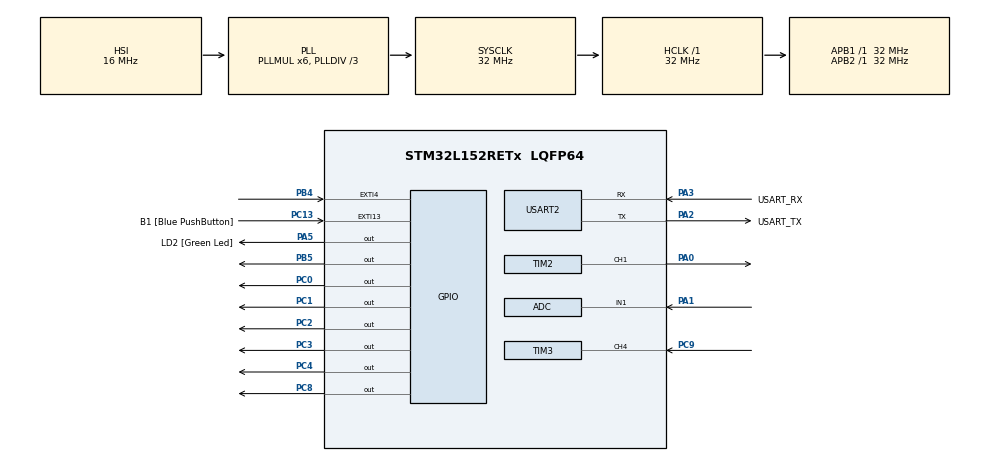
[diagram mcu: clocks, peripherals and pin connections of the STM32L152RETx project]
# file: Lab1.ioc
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ADC.Channel-0\#ChannelRegularConversion=ADC_CHANNEL_1
ADC.NbrOfConversionFlag=1
ADC.Rank-0\#ChannelRegularConversion=1
ADC.SamplingTime-0\#ChannelRegularConversion=ADC_SAMPLETIME_4CYCLES
Mcu.Family=STM32L1
Mcu.Name=STM32L152RETx
Mcu.Package=LQFP64
NVIC.PriorityGroup=NVIC_PRIORITYGROUP_0
PA0-WKUP1.Signal=S_TIM2_CH1_ETR
PA1.Mode=IN1
PA1.Signal=ADC_IN1
PA13.GPIO_Label=TMS
PA13.Mode=Serial_Wire
PA13.Signal=SYS_JTMS-SWDIO
PA14.GPIO_Label=TCK
PA14.Mode=Serial_Wire
PA14.Signal=SYS_JTCK-SWCLK
PA2.GPIO_Label=USART_TX
PA2.Mode=Asynchronous
PA2.Signal=USART2_TX
PA3.GPIO_Label=USART_RX
PA3.Mode=Asynchronous
PA3.Signal=USART2_RX
PA5.GPIO_Label=LD2 [Green Led]
PA5.Signal=GPIO_Output
PB3.GPIO_Label=SWO
PB3.Signal=SYS_JTDO-TRACESWO
PB4.Signal=GPXTI4
PB5.Signal=GPIO_Output
PC0.Signal=GPIO_Output
PC1.Signal=GPIO_Output
PC13-WKUP2.GPIO_Label=B1 [Blue PushButton]
PC13-WKUP2.Signal=GPXTI13
PC14-OSC32_IN.Mode=LSE-External-Oscillator
PC14-OSC32_IN.Signal=RCC_OSC32_IN
PC15-OSC32_OUT.Mode=LSE-External-Oscillator
PC15-OSC32_OUT.Signal=RCC_OSC32_OUT
PC2.Signal=GPIO_Output
PC3.Signal=GPIO_Output
PC4.Signal=GPIO_Output
PC8.Signal=GPIO_Output
PC9.Signal=S_TIM3_CH4
PH0-OSC_IN.Mode=HSE-External-Clock-Source
PH0-OSC_IN.Signal=RCC_OSC_IN
PH1-OSC_OUT.Signal=RCC_OSC_OUT
ProjectManager.HeapSize=0x200
ProjectManager.StackSize=0x400
ProjectManager.TargetToolchain=STM32CubeIDE
RCC.48MHZClocksFreq_Value=48000000
RCC.AHBFreq_Value=32000000
RCC.APB1Freq_Value=32000000
RCC.APB1TimFreq_Value=32000000
RCC.APB2Freq_Value=32000000
RCC.APB2TimFreq_Value=32000000
RCC.HCLKFreq_Value=32000000
RCC.HSE_VALUE=8000000
RCC.HSI_VALUE=16000000
RCC.MSI_VALUE=2097000
RCC.PLLDIV=RCC_PLL_DIV3
RCC.PLLMUL=RCC_PLL_MUL6
RCC.RTCClockSelectionVirtual=RCC_RTCCLKSOURCE_LSE
RCC.SYSCLKFreq_VALUE=32000000
RCC.SYSCLKSource=RCC_SYSCLKSOURCE_PLLCLK
RCC.USBOutput=48000000
RCC.VCOOutputFreq_Value=96000000
SH.S_TIM2_CH1_ETR.0=TIM2_CH1,PWM Generation1 CH1
SH.S_TIM3_CH4.0=TIM3_CH4,Input_Capture4_from_TI4
TIM2.Channel-PWM\ Generation1\ CH1=TIM_CHANNEL_1
TIM3.Channel-Input_Capture4_from_TI4=TIM_CHANNEL_4
USART2.VirtualMode=VM_ASYNC
VP_TIM4_VS_ClockSourceINT.Mode=Internal
board=NUCLEO-L152RE

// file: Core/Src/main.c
/* USER CODE BEGIN Header */
/**
  ******************************************************************************
  * @file           : main.c
  * @brief          : Main program body
  ******************************************************************************
  * @attention
  *
  * Copyright (c) 2026 STMicroelectronics.
  * All rights reserved.
  *
  * This software is licensed under terms that can be found in the LICENSE file
  * in the root directory of this software component.
  * If no LICENSE file comes with this software, it is provided AS-IS.
  *
  ******************************************************************************
  */
/* USER CODE END Header */
#include "main.h"

/* USER CODE BEGIN Includes */
extern UART_HandleTypeDef huart2;
#include <stdio.h>
int _write(int file, char *ptr, int len) {
	int i=0;
	for(i=0; i<len; i++)
	HAL_UART_Transmit(&huart2,(uint8_t *)(ptr++),1,1000);
	return len;
}
void waiting(unsigned int delay) {
	unsigned int i;
	for (i=0; i<delay; i++);
}
/* USER CODE END Includes */

ADC_HandleTypeDef hadc;

TIM_HandleTypeDef htim2;
TIM_HandleTypeDef htim3;
TIM_HandleTypeDef htim4;

UART_HandleTypeDef huart2;

/* USER CODE BEGIN PV */
unsigned char state = 0;
unsigned char medicion_init = 0;
unsigned char medicion_end = 1;
uint32_t value_adc = 0;
int angle = 0;

unsigned char estado_echo = 0;
unsigned char trig =0;
unsigned short tiempo_inicio = 0;
unsigned short tiempo = 0;
unsigned short distancia = 0;
unsigned char new_distance = 0;

unsigned char auto_step = 0; //counts how many 500ms blocks passed since the beginning of the measurement
unsigned char print_angle_flag = 0;//turns 1 when tell the main loop that the value should be printed

uint32_t pulse_width = 0;
/* USER CODE END PV */

void SystemClock_Config(void);
static void MX_GPIO_Init(void);
static void MX_ADC_Init(void);
static void MX_USART2_UART_Init(void);
static void MX_TIM4_Init(void);
static void MX_TIM3_Init(void);
static void MX_TIM2_Init(void);

/* USER CODE BEGIN 0 */
void EXTI15_10_IRQHandler(void){
	if(EXTI->PR & (1 << 13)){
		EXTI->PR = (0x01 << 13);
		state = state + 1;
		if (state >1) state = 0;
		if (medicion_end == 0) {
			printf("Mode will change after finishing the measurement \r\n");
		}
	}
}

void EXTI4_IRQHandler(void){
	// no need to verify EXTI PR as it only triggers this function with EXTI4
	EXTI->PR = (0x01 << 4);
	medicion_init = 1;
	medicion_end = 0;
	GPIOB->ODR |= (1 << 5);//Turn on the led
	TIM4->CCR1 = TIM4->CNT + 500;//set the 500ms
	TIM4->SR &= ~(1 << 1);//clear flags
	TIM4->DIER |= (1 << 1);//activate interruption

}

void leer_potenciometro(void){
	ADC1->CR2 |= 0x40000000;     // iniciar conversión
	while((ADC1->SR & 0x02)==0); // esperar fin
	value_adc = ADC1->DR;        // leer resultado
	angle = ((value_adc * 180)/4095)-90;
}

void TIM4_IRQHandler(void) {
	if ((TIM4->SR & (1 << 1)) != 0){
			TIM4->SR &= ~(1 << 1); // clear flag

			if (state == 0) {
				//Manual mode: turn off led and end interruption
				GPIOB->ODR &= ~(1 << 5); // turn off led
				TIM4->DIER &= ~(1 << 1); // turn of dier
				medicion_end = 1;
			} else {
				//Automatic mode
				auto_step++;

				// 1. Control del parpadeo (Pasos pares: Encendido, Pasos impares: Apagado)
				if (auto_step % 2 != 0) {
					GPIOB->ODR &= ~(1 << 5); // Apagar
				} else {
					GPIOB->ODR |= (1 << 5);  // Encender
				}

				// 2. Cambiar de ángulo cada 4 pasos (4 * 500ms = 2 segundos exactos)
				if (auto_step % 4 == 0) {
					int index = auto_step / 4;
					if (index < 5) {
						angle = -90 + (index * 45); // Siguiente ángulo a medir
					} else {
						angle = 0; // Regresar a la posición central al acabar
					}
					print_angle_flag = 1; // Avisamos al main() para que haga el printf
				}

				// 3. Evaluar si hemos terminado el ciclo (5 ángulos * 4 pasos = 20)
				if (auto_step >= 20) {
					TIM4->DIER &= ~(1 << 1); // Desactivar interrupción
					GPIOB->ODR &= ~(1 << 5); // Asegurar que el LED quede apagado
					medicion_end = 1;        // Liberar el estado para cambiar de modo
				} else {
					// Seguir con la secuencia: programar los siguientes 500ms
					TIM4->CCR1 = TIM4->CNT + 500;
				}
			}
		}
}
void medir(void){
	 GPIOC->BSRR = (1<<8);
	 TIM3 -> CNT = 0;
	 while(TIM3-> CNT < 10);
	 GPIOC->BSRR = (1<<8)<<16;
}

void TIM3_IRQHandler(void){
	if(TIM3->SR & 0x0010)
	    {
	        if(estado_echo==0)
	        {
	            tiempo_inicio = TIM3->CCR4;

	            estado_echo=1;

	            TIM3->CCER |= (1<<13);   // Detect Falling
	        }
	        else
	        {
	            tiempo = TIM3->CCR4 - tiempo_inicio;

	            if(tiempo<0)
	                tiempo+=0xFFFF;

	            estado_echo=0;

	            TIM3->CCER &= ~(1<<13);  //Detect rising

	            distancia = tiempo /58;
	            new_distance = 1;
	        }

	        TIM3->SR=0;
	    }

}

void update_led_distance(unsigned short d){
  //Tturn off the 5 LEDs (PC0 a PC4). We use the bits of Reset from BSRR (del 16 al 20)
  GPIOC ->BSRR = (0X1F << 16);
  //Turn on the LEDs
  if (d <= 80){
    GPIOC ->BSRR |= (1 << 0); //LED1
    GPIOC ->BSRR |= (1 << 1)<<16; //LED2
    GPIOC ->BSRR |= (1 << 2)<<16; //LED3
    GPIOC ->BSRR |= (1 << 3)<<16; //LED4
    GPIOC ->BSRR |= (1 << 4)<<16; //LED5
  }if (d <= 60){
    GPIOC ->BSRR |= (1 << 1); //LED2
    GPIOC ->BSRR |= (1 << 2)<<16; //LED3
	GPIOC ->BSRR |= (1 << 3)<<16; //LED4
	GPIOC ->BSRR |= (1 << 4)<<16; //LED5
  }
  if (d <= 40){
    GPIOC ->BSRR |= (1 << 2); //LED3
	GPIOC ->BSRR |= (1 << 3)<<16; //LED4
	GPIOC ->BSRR |= (1 << 4)<<16; //LED5
  }
  if (d <= 20){
    GPIOC ->BSRR |= (1 << 3); //LED4
	GPIOC ->BSRR |= (1 << 4)<<16; //LED5
  }
  if (d <= 10){
    GPIOC ->BSRR |= (1 << 4); //LED5
  }
}

void servo(int angle){
	if(angle < -90){
		angle = -90;
	}

	if(angle > 90){
		angle = 90;
	}
	pulse_width = 1500 + (angle * 500) / 90;
	TIM2->CCR1 = pulse_width;
}
/* USER CODE END 0 */

int main(void)
{

  /* USER CODE BEGIN 1 */
	unsigned char prev_state = 0;
  /* USER CODE END 1 */

  /* MCU Configuration--------------------------------------------------------*/

  /* Reset of all peripherals, Initializes the Flash interface and the Systick. */
  HAL_Init();

  /* Configure the system clock */
  SystemClock_Config();

  /* Initialize all configured peripherals */
  MX_GPIO_Init();
  MX_ADC_Init();
  MX_USART2_UART_Init();
  MX_TIM4_Init();
  MX_TIM3_Init();
  MX_TIM2_Init();
  /* USER CODE BEGIN 2 */
  /*INPUTS: */
  /*PB4 configuration EXTI mode, moder (00)*/
  GPIOB ->MODER &= ~(1 << (4*2 + 1));
  GPIOB ->MODER &= ~(1 << (4*2));
  GPIOB ->PUPDR &= ~(3 << 8); // cleaning any previous configuration
  GPIOB ->PUPDR |= (2 << 8); // Setting button on pull down (10)

  SYSCFG ->EXTICR[1] &= ~(0xF << 0);	//Cleaning any new previous at SYSCFG
  SYSCFG->EXTICR[1] |= (0x01 << 0);		// Enabling EXTI4 for PB4 with 0001
  EXTI ->FTSR &= ~(0x01 << 4);			// Disabling falling edge
  EXTI ->RTSR |= (0x01 << 4);			// Enabling rising edge
  EXTI ->IMR |= (0x01 << 4); 			// Enable EXTI 4
  NVIC ->ISER[0] |= (1 << 10); 	// Enable EXTI4 NVIC

  /*PC13 configuration EXTI mode, moder(00)*/
  GPIOC ->MODER &= ~(1 << (13*2 + 1));
  GPIOC ->MODER &= ~(1 << (13*2));

  SYSCFG ->EXTICR[3] &= ~(0xF << 4);	//Cleaning any new previous at SYSCFG
  SYSCFG->EXTICR[3] |= (0x02 << 4);		// Enabling EXTI13 for PC13 with 0010
  EXTI ->FTSR |= (0x01 << 13);			// Enable falling edge
  EXTI ->RTSR &= ~(0x01 << 13);			// Disable rising edge
  EXTI ->IMR |= (0x01 << 13); 			// Enable EXTI 13
  NVIC ->ISER[1] |= (1 << (40-32)); 	// Enable EXTI15_10 NVIC

  //PA1 as an input analog mode, (11)
  GPIOA->MODER &= ~(3 << (1*2));
  GPIOA->MODER |= (3 << (1*2));
  ADC1->CR1 = 0x00000000;//Res (00) 12 bits, scan mode 0 disbabled, EOCIE 0
  ADC1->SQR1 = 0x00000000; // 1 channel enabled
  ADC1->SQR3 = 1;
  ADC1->CR2 |= (1 << 0);

  /*OUTPUTS: */
  /*PA5 configuration in output mode, moder(01)  */
  GPIOA ->MODER &= ~(1 << (5*2 + 1));
  GPIOA ->MODER |= (1 << (5*2));

  /*PB5 configuration of the external led, moder(01)*/
  GPIOB ->MODER &= ~(1 << (5*2 + 1));
  GPIOB ->MODER |= (1 << (5*2));

  //PC8 as trig output
    GPIOC -> MODER &= ~(3<<(2*8));
    GPIOC -> MODER |= (1<<(2*8));
    GPIOC->BSRR = (1<<8)<<16;

    /*TIMERS:*/
     /*TIM3_CH4 configuration: */
   	GPIOC->MODER &= ~(3 << (2*9)); //PC9 as output
   	GPIOC->MODER |=  (2 << (2*9));

   	GPIOC->AFR[1] &= ~(0xF << 4);
   	GPIOC->AFR[1] |=  (0x2 << 4); //Activating TIM3

   	TIM3->CR1 = 0x0000;
   	TIM3->CR2 = 0x0000;
   	TIM3->SMCR = 0x0000;

   	TIM3->PSC = 31;
   	TIM3->CNT = 0;
   	TIM3->ARR = 0xFFFF;

   	TIM3->CCMR2 = 0x0100;   // CH4 Input capture
   	TIM3->CCER  = 0x1000;   // Enable CH4
   	TIM3->DIER  = 0x0010;   // Interrupt CH4

   	TIM3->CCER &= ~(1<<13); //Starting rising

   	TIM3->CR1 |= 1;
   	TIM3->EGR |= 1;
   	TIM3->SR = 0;

   	NVIC->ISER[0] |= (1 << 29);

  /*TIMER FOR LED (TIM4)*/
  TIM4->CR1 = 0X0000;//turn off the timer so we can configure it
  TIM4->CR2 = 0X0000;//always 0 in this course
  TIM4->SMCR = 0X0000;//always 0 in this course

  TIM4->PSC = 31999;//set the prescaler
  TIM4->CNT = 0;//initialize the counter
  TIM4->ARR = 0xFFFF;//set the max value

  TIM4->CCMR1 = 0x0000;//set channels 1 and 2 in internal mode
  TIM4->CCER = 0x0000;

  TIM4->CR1 |= 0x0001;//starts the timer
  TIM4->EGR |= 0x0001;//UG = 1 -> generate an update event to update all registers
  TIM4->SR = 0;//clear flags

  NVIC->ISER[0] |= (1 << 30);//Enabling TIM4_IRQ at NVIC (position 30)

  /*TIMER 2 */
  GPIOA->MODER &= ~(3 << (2*0)); // PA0 clear
  GPIOA->MODER |=  (2 << (2*0)); // PA0 as Alternate Function

  GPIOA->AFR[0] &= ~(0xF << 0);  // Cleans AF PA0
  GPIOA->AFR[0] |=  (0x1 << 0);  // Activates AF1

  TIM2->CR1 = 0x0000; //turn off
  TIM2->CR2 = 0x0000;
  TIM2->SMCR = 0x0000;

  TIM2->PSC = 31; //set the prescaler (32MHz)
  TIM2->CNT = 0; //clear counter
  TIM2->ARR = 19999; //set max value (20ms period for servo)

  TIM2->CCMR1 = 0x0060; //set CH1 in PWM mode 1 (bits 6:4 to 110)
  TIM2->CCER  = 0x0001; //enable CH1 output
  TIM2->CCR1  = 1500;   //set initial pulse width (1500us = 0 degrees/center)

  TIM2->CR1 |= 0x0001; //start timer
  TIM2->EGR |= 0x0001; //UG = 1 -> generate an update event to update all registers
  TIM2->SR = 0;        //clear flags

  /* USER CODE END 2 */

  /* Infinite loop */
  /* USER CODE BEGIN WHILE */
  while (1)
  {
	  if ((state != prev_state) && (medicion_end == 1)){
		  prev_state = state;
		  if(state == 0){
		  	 printf("Manual mode\r\n");
		  	 GPIOA->BSRR = (1<<5)<<16;
		  }else{
		  	 printf("Automatic mode\r\n");
		  	 GPIOA->BSRR = (1<<5);
		  }
	  }
	  if (state == 0){//Manual mode
		  leer_potenciometro();
		  servo(angle);
		  if(medicion_init){
		  	 medir();
		  	 medicion_init = 0;
		  }
	  }else{
		  if(medicion_init == 1){
			 auto_step = 0;
			 angle = -90;

			 printf("Automatic angle: %d\r\n",angle);
			 servo(angle);
			 medir();
			 medicion_init = 0;
		  }

		  if (print_angle_flag == 1) {
			  print_angle_flag = 0;
			  printf("Automatic angle: %d\r\n",angle);
			  servo(angle);
			  medir();
		  }
	}
	  if(new_distance){
	  		  printf("Distancia = %d cm\r\n", distancia);
	  		  update_led_distance(distancia);
	  		  new_distance = 0;
	  }
}
    /* USER CODE END WHILE */

}

void SystemClock_Config(void)
{
  RCC_OscInitTypeDef RCC_OscInitStruct = {0};
  RCC_ClkInitTypeDef RCC_ClkInitStruct = {0};

  /** Configure the main internal regulator output voltage
  */
  __HAL_PWR_VOLTAGESCALING_CONFIG(PWR_REGULATOR_VOLTAGE_SCALE1);

  /** Initializes the RCC Oscillators according to the specified parameters
  * in the RCC_OscInitTypeDef structure.
  */
  RCC_OscInitStruct.OscillatorType = RCC_OSCILLATORTYPE_HSI;
  RCC_OscInitStruct.HSIState = RCC_HSI_ON;
  RCC_OscInitStruct.HSICalibrationValue = RCC_HSICALIBRATION_DEFAULT;
  RCC_OscInitStruct.PLL.PLLState = RCC_PLL_ON;
  RCC_OscInitStruct.PLL.PLLSource = RCC_PLLSOURCE_HSI;
  RCC_OscInitStruct.PLL.PLLMUL = RCC_PLL_MUL6;
  RCC_OscInitStruct.PLL.PLLDIV = RCC_PLL_DIV3;
  if (HAL_RCC_OscConfig(&RCC_OscInitStruct) != HAL_OK)
  {
    Error_Handler();
  }

  /** Initializes the CPU, AHB and APB buses clocks
  */
  RCC_ClkInitStruct.ClockType = RCC_CLOCKTYPE_HCLK|RCC_CLOCKTYPE_SYSCLK
                              |RCC_CLOCKTYPE_PCLK1|RCC_CLOCKTYPE_PCLK2;
  RCC_ClkInitStruct.SYSCLKSource = RCC_SYSCLKSOURCE_PLLCLK;
  RCC_ClkInitStruct.AHBCLKDivider = RCC_SYSCLK_DIV1;
  RCC_ClkInitStruct.APB1CLKDivider = RCC_HCLK_DIV1;
  RCC_ClkInitStruct.APB2CLKDivider = RCC_HCLK_DIV1;

  if (HAL_RCC_ClockConfig(&RCC_ClkInitStruct, FLASH_LATENCY_1) != HAL_OK)
  {
    Error_Handler();
  }
}

static void MX_ADC_Init(void)
{

  ADC_ChannelConfTypeDef sConfig = {0};

  /** Configure the global features of the ADC (Clock, Resolution, Data Alignment and number of conversion)
  */
  hadc.Instance = ADC1;
  hadc.Init.ClockPrescaler = ADC_CLOCK_ASYNC_DIV1;
  hadc.Init.Resolution = ADC_RESOLUTION_12B;
  hadc.Init.DataAlign = ADC_DATAALIGN_RIGHT;
  hadc.Init.ScanConvMode = ADC_SCAN_DISABLE;
  hadc.Init.EOCSelection = ADC_EOC_SEQ_CONV;
  hadc.Init.LowPowerAutoWait = ADC_AUTOWAIT_DISABLE;
  hadc.Init.LowPowerAutoPowerOff = ADC_AUTOPOWEROFF_DISABLE;
  hadc.Init.ChannelsBank = ADC_CHANNELS_BANK_A;
  hadc.Init.ContinuousConvMode = DISABLE;
  hadc.Init.NbrOfConversion = 1;
  hadc.Init.DiscontinuousConvMode = DISABLE;
  hadc.Init.ExternalTrigConv = ADC_SOFTWARE_START;
  hadc.Init.ExternalTrigConvEdge = ADC_EXTERNALTRIGCONVEDGE_NONE;
  hadc.Init.DMAContinuousRequests = DISABLE;
  if (HAL_ADC_Init(&hadc) != HAL_OK)
  {
    Error_Handler();
  }

  /** Configure for the selected ADC regular channel its corresponding rank in the sequencer and its sample time.
  */
  sConfig.Channel = ADC_CHANNEL_1;
  sConfig.Rank = ADC_REGULAR_RANK_1;
  sConfig.SamplingTime = ADC_SAMPLETIME_4CYCLES;
  if (HAL_ADC_ConfigChannel(&hadc, &sConfig) != HAL_OK)
  {
    Error_Handler();
  }

}

static void MX_TIM2_Init(void)
{

  TIM_MasterConfigTypeDef sMasterConfig = {0};
  TIM_OC_InitTypeDef sConfigOC = {0};

  htim2.Instance = TIM2;
  htim2.Init.Prescaler = 0;
  htim2.Init.CounterMode = TIM_COUNTERMODE_UP;
  htim2.Init.Period = 65535;
  htim2.Init.ClockDivision = TIM_CLOCKDIVISION_DIV1;
  htim2.Init.AutoReloadPreload = TIM_AUTORELOAD_PRELOAD_DISABLE;
  if (HAL_TIM_PWM_Init(&htim2) != HAL_OK)
  {
    Error_Handler();
  }
  sMasterConfig.MasterOutputTrigger = TIM_TRGO_RESET;
  sMasterConfig.MasterSlaveMode = TIM_MASTERSLAVEMODE_DISABLE;
  if (HAL_TIMEx_MasterConfigSynchronization(&htim2, &sMasterConfig) != HAL_OK)
  {
    Error_Handler();
  }
  sConfigOC.OCMode = TIM_OCMODE_PWM1;
  sConfigOC.Pulse = 0;
  sConfigOC.OCPolarity = TIM_OCPOLARITY_HIGH;
  sConfigOC.OCFastMode = TIM_OCFAST_DISABLE;
  if (HAL_TIM_PWM_ConfigChannel(&htim2, &sConfigOC, TIM_CHANNEL_1) != HAL_OK)
  {
    Error_Handler();
  }
  HAL_TIM_MspPostInit(&htim2);

}

static void MX_TIM3_Init(void)
{

  TIM_MasterConfigTypeDef sMasterConfig = {0};
  TIM_IC_InitTypeDef sConfigIC = {0};

  htim3.Instance = TIM3;
  htim3.Init.Prescaler = 0;
  htim3.Init.CounterMode = TIM_COUNTERMODE_UP;
  htim3.Init.Period = 65535;
  htim3.Init.ClockDivision = TIM_CLOCKDIVISION_DIV1;
  htim3.Init.AutoReloadPreload = TIM_AUTORELOAD_PRELOAD_DISABLE;
  if (HAL_TIM_IC_Init(&htim3) != HAL_OK)
  {
    Error_Handler();
  }
  sMasterConfig.MasterOutputTrigger = TIM_TRGO_RESET;
  sMasterConfig.MasterSlaveMode = TIM_MASTERSLAVEMODE_DISABLE;
  if (HAL_TIMEx_MasterConfigSynchronization(&htim3, &sMasterConfig) != HAL_OK)
  {
    Error_Handler();
  }
  sConfigIC.ICPolarity = TIM_INPUTCHANNELPOLARITY_RISING;
  sConfigIC.ICSelection = TIM_ICSELECTION_DIRECTTI;
  sConfigIC.ICPrescaler = TIM_ICPSC_DIV1;
  sConfigIC.ICFilter = 0;
  if (HAL_TIM_IC_ConfigChannel(&htim3, &sConfigIC, TIM_CHANNEL_4) != HAL_OK)
  {
    Error_Handler();
  }

}

static void MX_TIM4_Init(void)
{

  TIM_ClockConfigTypeDef sClockSourceConfig = {0};
  TIM_MasterConfigTypeDef sMasterConfig = {0};

  htim4.Instance = TIM4;
  htim4.Init.Prescaler = 0;
  htim4.Init.CounterMode = TIM_COUNTERMODE_UP;
  htim4.Init.Period = 65535;
  htim4.Init.ClockDivision = TIM_CLOCKDIVISION_DIV1;
  htim4.Init.AutoReloadPreload = TIM_AUTORELOAD_PRELOAD_DISABLE;
  if (HAL_TIM_Base_Init(&htim4) != HAL_OK)
  {
    Error_Handler();
  }
  sClockSourceConfig.ClockSource = TIM_CLOCKSOURCE_INTERNAL;
  if (HAL_TIM_ConfigClockSource(&htim4, &sClockSourceConfig) != HAL_OK)
  {
    Error_Handler();
  }
  sMasterConfig.MasterOutputTrigger = TIM_TRGO_RESET;
  sMasterConfig.MasterSlaveMode = TIM_MASTERSLAVEMODE_DISABLE;
  if (HAL_TIMEx_MasterConfigSynchronization(&htim4, &sMasterConfig) != HAL_OK)
  {
    Error_Handler();
  }

}

static void MX_USART2_UART_Init(void)
{

  huart2.Instance = USART2;
  huart2.Init.BaudRate = 115200;
  huart2.Init.WordLength = UART_WORDLENGTH_8B;
  huart2.Init.StopBits = UART_STOPBITS_1;
  huart2.Init.Parity = UART_PARITY_NONE;
  huart2.Init.Mode = UART_MODE_TX_RX;
  huart2.Init.HwFlowCtl = UART_HWCONTROL_NONE;
  huart2.Init.OverSampling = UART_OVERSAMPLING_16;
  if (HAL_UART_Init(&huart2) != HAL_OK)
  {
    Error_Handler();
  }

}

static void MX_GPIO_Init(void)
{
  GPIO_InitTypeDef GPIO_InitStruct = {0};

  /* GPIO Ports Clock Enable */
  __HAL_RCC_GPIOC_CLK_ENABLE();
  __HAL_RCC_GPIOH_CLK_ENABLE();
  __HAL_RCC_GPIOA_CLK_ENABLE();
  __HAL_RCC_GPIOB_CLK_ENABLE();

  /*Configure GPIO pin Output Level */
  HAL_GPIO_WritePin(GPIOC, GPIO_PIN_0|GPIO_PIN_1|GPIO_PIN_2|GPIO_PIN_3
                          |GPIO_PIN_4|GPIO_PIN_8, GPIO_PIN_RESET);

  /*Configure GPIO pin Output Level */
  HAL_GPIO_WritePin(LD2_GPIO_Port, LD2_Pin, GPIO_PIN_RESET);

  /*Configure GPIO pin Output Level */
  HAL_GPIO_WritePin(GPIOB, GPIO_PIN_5, GPIO_PIN_RESET);

  /*Configure GPIO pin : B1_Pin */
  GPIO_InitStruct.Pin = B1_Pin;
  GPIO_InitStruct.Mode = GPIO_MODE_IT_RISING;
  GPIO_InitStruct.Pull = GPIO_NOPULL;
  HAL_GPIO_Init(B1_GPIO_Port, &GPIO_InitStruct);

  /*Configure GPIO pins : PC0 PC1 PC2 PC3
                           PC4 PC8 */
  GPIO_InitStruct.Pin = GPIO_PIN_0|GPIO_PIN_1|GPIO_PIN_2|GPIO_PIN_3
                          |GPIO_PIN_4|GPIO_PIN_8;
  GPIO_InitStruct.Mode = GPIO_MODE_OUTPUT_PP;
  GPIO_InitStruct.Pull = GPIO_NOPULL;
  GPIO_InitStruct.Speed = GPIO_SPEED_FREQ_LOW;
  HAL_GPIO_Init(GPIOC, &GPIO_InitStruct);

  /*Configure GPIO pin : LD2_Pin */
  GPIO_InitStruct.Pin = LD2_Pin;
  GPIO_InitStruct.Mode = GPIO_MODE_OUTPUT_PP;
  GPIO_InitStruct.Pull = GPIO_NOPULL;
  GPIO_InitStruct.Speed = GPIO_SPEED_FREQ_LOW;
  HAL_GPIO_Init(LD2_GPIO_Port, &GPIO_InitStruct);

  /*Configure GPIO pin : PB4 */
  GPIO_InitStruct.Pin = GPIO_PIN_4;
  GPIO_InitStruct.Mode = GPIO_MODE_IT_RISING;
  GPIO_InitStruct.Pull = GPIO_NOPULL;
  HAL_GPIO_Init(GPIOB, &GPIO_InitStruct);

  /*Configure GPIO pin : PB5 */
  GPIO_InitStruct.Pin = GPIO_PIN_5;
  GPIO_InitStruct.Mode = GPIO_MODE_OUTPUT_PP;
  GPIO_InitStruct.Pull = GPIO_NOPULL;
  GPIO_InitStruct.Speed = GPIO_SPEED_FREQ_LOW;
  HAL_GPIO_Init(GPIOB, &GPIO_InitStruct);

}

void Error_Handler(void)
{
  __disable_irq();
  while (1)
  {
  }
}
